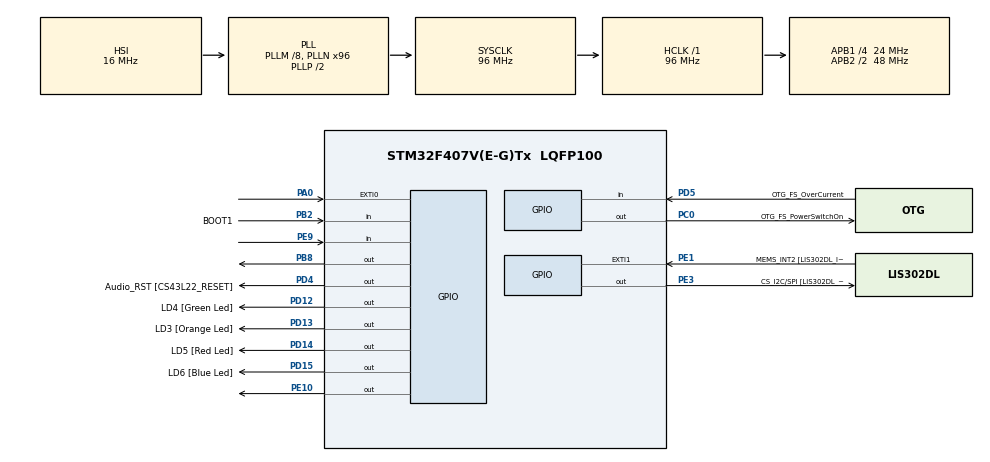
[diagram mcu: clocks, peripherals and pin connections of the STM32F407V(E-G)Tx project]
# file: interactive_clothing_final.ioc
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Mcu.Family=STM32F4
Mcu.Name=STM32F407V(E-G)Tx
Mcu.Package=LQFP100
NVIC.EXTI0_IRQn=true\:0\:0\:false\:false\:true\:true\:true
NVIC.PriorityGroup=NVIC_PRIORITYGROUP_0
PA0-WKUP.GPIO_ModeDefaultEXTI=GPIO_MODE_IT_RISING_FALLING
PA0-WKUP.Signal=GPXTI0
PA10.GPIO_Label=OTG_FS_ID
PA10.GPIO_Mode=GPIO_MODE_AF_PP
PA10.GPIO_PuPd=GPIO_NOPULL
PA10.GPIO_Speed=GPIO_SPEED_FREQ_LOW
PA10.Signal=USB_OTG_FS_ID
PA11.GPIO_Label=OTG_FS_DM
PA11.GPIO_Mode=GPIO_MODE_AF_PP
PA11.GPIO_PuPd=GPIO_NOPULL
PA11.GPIO_Speed=GPIO_SPEED_FREQ_LOW
PA11.Signal=USB_OTG_FS_DM
PA12.GPIO_Label=OTG_FS_DP
PA12.GPIO_Mode=GPIO_MODE_AF_PP
PA12.GPIO_PuPd=GPIO_NOPULL
PA12.GPIO_Speed=GPIO_SPEED_FREQ_LOW
PA12.Signal=USB_OTG_FS_DP
PA13.GPIO_Label=SWDIO
PA13.Mode=Serial_Wire
PA13.Signal=SYS_JTMS-SWDIO
PA14.GPIO_Label=SWCLK
PA14.Mode=Serial_Wire
PA14.Signal=SYS_JTCK-SWCLK
PA4.GPIO_Label=I2S3_WS [CS43L22_LRCK]
PA4.GPIO_Mode=GPIO_MODE_AF_PP
PA4.GPIO_PuPd=GPIO_NOPULL
PA4.GPIO_Speed=GPIO_SPEED_FREQ_LOW
PA4.Signal=I2S3_WS
PA5.GPIO_Label=SPI1_SCK [LIS302DL_SCL/SPC]
PA5.GPIO_Mode=GPIO_MODE_AF_PP
PA5.GPIO_PuPd=GPIO_NOPULL
PA5.GPIO_Speed=GPIO_SPEED_FREQ_LOW
PA5.Signal=SPI1_SCK
PA6.GPIO_Label=SPI1_MISO [LIS302DL_SDO]
PA6.GPIO_Mode=GPIO_MODE_AF_PP
PA6.GPIO_PuPd=GPIO_NOPULL
PA6.GPIO_Speed=GPIO_SPEED_FREQ_LOW
PA6.Signal=SPI1_MISO
PA7.GPIO_Label=SPI1_MOSI [LIS302DL_SDA/SDI/SDO]
PA7.GPIO_Mode=GPIO_MODE_AF_PP
PA7.GPIO_PuPd=GPIO_NOPULL
PA7.GPIO_Speed=GPIO_SPEED_FREQ_LOW
PA7.Signal=SPI1_MOSI
PA9.GPIO_Label=VBUS_FS
PA9.GPIO_Mode=GPIO_MODE_INPUT
PA9.GPIO_PuPd=GPIO_NOPULL
PA9.Signal=USB_OTG_FS_VBUS
PB10.GPIO_Label=CLK_IN [MP45DT02_CLK]
PB10.GPIO_Mode=GPIO_MODE_AF_PP
PB10.GPIO_PuPd=GPIO_NOPULL
PB10.GPIO_Speed=GPIO_SPEED_FREQ_LOW
PB10.Signal=I2S2_CK
PB2.GPIO_Label=BOOT1
PB2.GPIO_Mode=GPIO_MODE_INPUT
PB2.GPIO_PuPd=GPIO_NOPULL
PB2.Signal=GPIO_Input
PB3.GPIO_Label=SWO
PB3.Signal=SYS_JTDO-SWO
PB6.GPIO_Label=Audio_SCL [CS43L22_SCL]
PB6.GPIO_Mode=GPIO_MODE_AF_OD
PB6.GPIO_PuPd=GPIO_NOPULL
PB6.GPIO_Speed=GPIO_SPEED_FREQ_LOW
PB6.Signal=I2C1_SCL
PB8.Signal=GPIO_Output
PB9.GPIO_Label=Audio_SDA [CS43L22_SDA]
PB9.GPIO_Mode=GPIO_MODE_AF_OD
PB9.GPIO_PuPd=GPIO_NOPULL
PB9.GPIO_Speed=GPIO_SPEED_FREQ_LOW
PB9.Signal=I2C1_SDA
PC0.GPIO_Label=OTG_FS_PowerSwitchOn
PC0.GPIO_PuPd=GPIO_NOPULL
PC0.GPIO_Speed=GPIO_SPEED_FREQ_LOW
PC0.PinState=GPIO_PIN_SET
PC0.Signal=GPIO_Output
PC10.GPIO_Label=I2S3_SCK [CS43L22_SCLK]
PC10.GPIO_Mode=GPIO_MODE_AF_PP
PC10.GPIO_PuPd=GPIO_NOPULL
PC10.GPIO_Speed=GPIO_SPEED_FREQ_LOW
PC10.Signal=I2S3_CK
PC12.GPIO_Label=I2S3_SD [CS43L22_SDIN]
PC12.GPIO_Mode=GPIO_MODE_AF_PP
PC12.GPIO_PuPd=GPIO_NOPULL
PC12.GPIO_Speed=GPIO_SPEED_FREQ_LOW
PC12.Signal=I2S3_SD
PC14-OSC32_IN.GPIO_Label=PC14-OSC32_IN
PC14-OSC32_IN.Mode=LSE-External-Oscillator
PC14-OSC32_IN.Signal=RCC_OSC32_IN
PC15-OSC32_OUT.GPIO_Label=PC15-OSC32_OUT
PC15-OSC32_OUT.Mode=LSE-External-Oscillator
PC15-OSC32_OUT.Signal=RCC_OSC32_OUT
PC3.GPIO_Label=PDM_OUT [MP45DT02_DOUT]
PC3.GPIO_Mode=GPIO_MODE_AF_PP
PC3.GPIO_PuPd=GPIO_NOPULL
PC3.GPIO_Speed=GPIO_SPEED_FREQ_LOW
PC3.Signal=I2S2_SD
PC7.GPIO_Label=I2S3_MCK [CS43L22_MCLK]
PC7.GPIO_Mode=GPIO_MODE_AF_PP
PC7.GPIO_PuPd=GPIO_NOPULL
PC7.GPIO_Speed=GPIO_SPEED_FREQ_LOW
PC7.Signal=I2S3_MCK
PD12.GPIO_Label=LD4 [Green Led]
PD12.GPIO_PuPd=GPIO_NOPULL
PD12.GPIO_Speed=GPIO_SPEED_FREQ_LOW
PD12.Signal=GPIO_Output
PD13.GPIO_Label=LD3 [Orange Led]
PD13.GPIO_PuPd=GPIO_NOPULL
PD13.GPIO_Speed=GPIO_SPEED_FREQ_LOW
PD13.Signal=GPIO_Output
PD14.GPIO_Label=LD5 [Red Led]
PD14.GPIO_PuPd=GPIO_NOPULL
PD14.GPIO_Speed=GPIO_SPEED_FREQ_LOW
PD14.Signal=GPIO_Output
PD15.GPIO_Label=LD6 [Blue Led]
PD15.GPIO_PuPd=GPIO_NOPULL
PD15.GPIO_Speed=GPIO_SPEED_FREQ_LOW
PD15.Signal=GPIO_Output
PD4.GPIO_Label=Audio_RST [CS43L22_RESET]
PD4.GPIO_PuPd=GPIO_NOPULL
PD4.GPIO_Speed=GPIO_SPEED_FREQ_LOW
PD4.Signal=GPIO_Output
PD5.GPIO_Label=OTG_FS_OverCurrent
PD5.GPIO_Mode=GPIO_MODE_INPUT
PD5.GPIO_PuPd=GPIO_NOPULL
PD5.Signal=GPIO_Input
PE1.GPIO_Label=MEMS_INT2 [LIS302DL_INT2]
PE1.GPIO_ModeDefaultEXTI=GPIO_MODE_EVT_RISING
PE1.GPIO_PuPd=GPIO_NOPULL
PE1.Signal=GPXTI1
PE10.Signal=GPIO_Output
PE3.GPIO_Label=CS_I2C/SPI [LIS302DL_CS_I2C/SPI]
PE3.GPIO_PuPd=GPIO_NOPULL
PE3.GPIO_Speed=GPIO_SPEED_FREQ_LOW
PE3.Signal=GPIO_Output
PE9.Signal=GPIO_Input
PH0-OSC_IN.GPIO_Label=PH0-OSC_IN
PH0-OSC_IN.Mode=HSE-External-Oscillator
PH0-OSC_IN.Signal=RCC_OSC_IN
PH1-OSC_OUT.GPIO_Label=PH1-OSC_OUT
PH1-OSC_OUT.Mode=HSE-External-Oscillator
PH1-OSC_OUT.Signal=RCC_OSC_OUT
ProjectManager.HeapSize=0x200
ProjectManager.StackSize=0x400
ProjectManager.TargetToolchain=SW4STM32
RCC.48MHZClocksFreq_Value=27428571.42857143
RCC.AHBFreq_Value=96000000
RCC.APB1CLKDivider=RCC_HCLK_DIV4
RCC.APB1Freq_Value=24000000
RCC.APB1TimFreq_Value=48000000
RCC.APB2CLKDivider=RCC_HCLK_DIV2
RCC.APB2Freq_Value=48000000
RCC.APB2TimFreq_Value=96000000
RCC.CortexFreq_Value=96000000
RCC.HCLKFreq_Value=96000000
RCC.HSE_VALUE=8000000
RCC.HSI_VALUE=16000000
RCC.PLLM=8
RCC.PLLN=96
RCC.PLLQ=7
RCC.SYSCLKFreq_VALUE=96000000
RCC.SYSCLKSource=RCC_SYSCLKSOURCE_PLLCLK
RCC.VCOOutputFreq_Value=192000000
board=STM32F407G-DISC1

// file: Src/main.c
/* USER CODE BEGIN Header */
/**
  ******************************************************************************
  * @file           : main.c
  * @brief          : Main program body
  ******************************************************************************
  * @attention
  *
  * <h2><center>&copy; Copyright (c) 2020 STMicroelectronics.
  * All rights reserved.</center></h2>
  *
  * This software component is licensed by ST under BSD 3-Clause license,
  * the "License"; You may not use this file except in compliance with the
  * License. You may obtain a copy of the License at:
  *                        opensource.org/licenses/BSD-3-Clause
  *
  ******************************************************************************
  */
/* USER CODE END Header */

#include "main.h"
#include "gpio.h"

/* USER CODE BEGIN Includes */
#include "led_tape.h"
#include "dalekomir.h"
#include "cm_state.h"
#include "dalekomir_state.h"
/* USER CODE END Includes */

void SystemClock_Config(void);

/* USER CODE BEGIN 0 */
int state = 1;
int button_not_pressed = 1;
int long_press = 0;
void check_button() {
    if (HAL_GPIO_ReadPin(GPIOA, GPIO_PIN_0) == GPIO_PIN_RESET) {
        long_press = !long_press;
    }

    if (HAL_GPIO_ReadPin(GPIOA, GPIO_PIN_0) == GPIO_PIN_SET) {
        if (!long_press) {
            button_not_pressed = !button_not_pressed;
            long_press = !long_press;
        }
    }
    if (!button_not_pressed) {
        state = !state;
        button_not_pressed = !button_not_pressed;
    }
}

void HAL_GPIO_EXTI_Callback(uint16_t GPIO_Pin) {
    static uint32_t last_change_tick;
    if (HAL_GetTick() - last_change_tick < 50) {
        return;
    }
    last_change_tick = HAL_GetTick();
    check_button();
}
/* USER CODE END 0 */

int main(void) {

    /* MCU Configuration--------------------------------------------------------*/

    /* Reset of all peripherals, Initializes the Flash interface and the Systick. */
    HAL_Init();

    /* Configure the system clock */
    SystemClock_Config();

    /* Initialize all configured peripherals */
    MX_GPIO_Init();
    /* USER CODE BEGIN 2 */
    DWT_Init();
    /* USER CODE END 2 */

    /* Infinite loop */
    while (1) {
        /* USER CODE BEGIN WHILE */
        if (state) {
            dalekomir_state();
        } else {
            HAL_Delay(10);
            cm_state();
        }
        /* USER CODE END WHILE */

    }
}

void SystemClock_Config(void) {
    RCC_OscInitTypeDef RCC_OscInitStruct = {0};
    RCC_ClkInitTypeDef RCC_ClkInitStruct = {0};

    /** Configure the main internal regulator output voltage
    */
    __HAL_RCC_PWR_CLK_ENABLE();
    __HAL_PWR_VOLTAGESCALING_CONFIG(PWR_REGULATOR_VOLTAGE_SCALE1);
    /** Initializes the CPU, AHB and APB busses clocks
    */
    RCC_OscInitStruct.OscillatorType = RCC_OSCILLATORTYPE_HSI;
    RCC_OscInitStruct.HSIState = RCC_HSI_ON;
    RCC_OscInitStruct.HSICalibrationValue = RCC_HSICALIBRATION_DEFAULT;
    RCC_OscInitStruct.PLL.PLLState = RCC_PLL_ON;
    RCC_OscInitStruct.PLL.PLLSource = RCC_PLLSOURCE_HSI;
    RCC_OscInitStruct.PLL.PLLM = 8;
    RCC_OscInitStruct.PLL.PLLN = 96;
    RCC_OscInitStruct.PLL.PLLP = RCC_PLLP_DIV2;
    RCC_OscInitStruct.PLL.PLLQ = 7;
    if (HAL_RCC_OscConfig(&RCC_OscInitStruct) != HAL_OK) {
        Error_Handler();
    }
    /** Initializes the CPU, AHB and APB busses clocks
    */
    RCC_ClkInitStruct.ClockType = RCC_CLOCKTYPE_HCLK | RCC_CLOCKTYPE_SYSCLK
                                  | RCC_CLOCKTYPE_PCLK1 | RCC_CLOCKTYPE_PCLK2;
    RCC_ClkInitStruct.SYSCLKSource = RCC_SYSCLKSOURCE_PLLCLK;
    RCC_ClkInitStruct.AHBCLKDivider = RCC_SYSCLK_DIV1;
    RCC_ClkInitStruct.APB1CLKDivider = RCC_HCLK_DIV4;
    RCC_ClkInitStruct.APB2CLKDivider = RCC_HCLK_DIV2;

    if (HAL_RCC_ClockConfig(&RCC_ClkInitStruct, FLASH_LATENCY_3) != HAL_OK) {
        Error_Handler();
    }
}

void Error_Handler(void)
{
}

/************************ (C) COPYRIGHT STMicroelectronics *****END OF FILE****/
